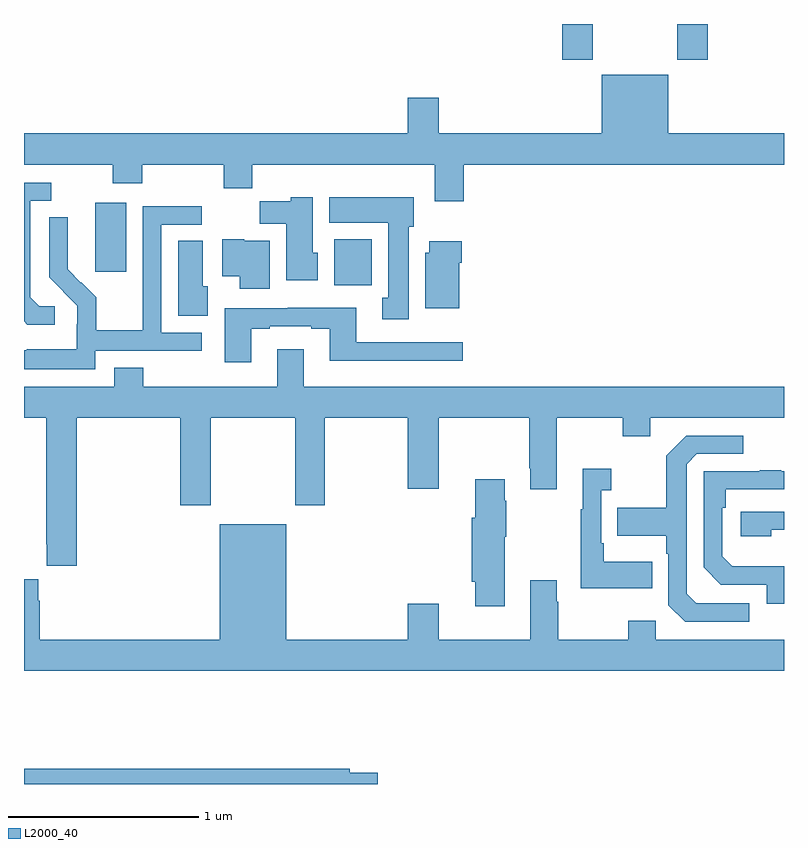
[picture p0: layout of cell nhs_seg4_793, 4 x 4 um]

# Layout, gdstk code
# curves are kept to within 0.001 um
import gdstk
lib = gdstk.Library(unit=1e-6, precision=1e-09)
def R(c, l, rs):  # rectangles x0, y0, x1, y1
    for r in rs: c.add(gdstk.rectangle(r[:2], r[2:], *l))
def P(c, l, *ps):  # polygons
    for p in ps: c.add(gdstk.Polygon(p, *l))
L2000_40 = (2000, 40)

nhs_seg4_793 = lib.new_cell('nhs_seg4_793')
R(nhs_seg4_793, L2000_40, [(152.633,789.524,152.83,789.766), (151.376,789.597,151.537,789.958), (153.833,790.713,153.993,790.9), (154.438,790.713,154.598,790.9)])
P(nhs_seg4_793, L2000_40, [(153.314,790.16),(155,790.16),(155,790.324),(154.39,790.324),(154.39,790.633),(154.04,790.633),(154.04,790.324),(153.184,790.324),(153.184,790.513),(153.02,790.513),(153.02,790.324),(151,790.324),(151,790.16),(151.468,790.16),(151.468,790.061),(151.623,790.061),(151.623,790.16),(152.05,790.16),(152.05,790.036),(152.201,790.036),(152.201,790.16),(153.161,790.16),(153.161,789.966),(153.314,789.966)],
  [(151.162,789.414),(151.08,789.414),(151.033,789.461),(151.033,789.969),(151.144,789.969),(151.144,790.065),(151,790.065),(151,789.335),(151.018,789.317),(151.162,789.317)],
  [(153.025,789.834),(153.052,789.834),(153.052,789.988),(152.606,789.988),(152.606,789.854),(152.918,789.854),(152.918,789.458),(152.885,789.458),(152.885,789.345),(153.025,789.345)],
  [(152.545,789.696),(152.521,789.696),(152.521,789.988),(152.403,789.988),(152.403,789.967),(152.242,789.967),(152.242,789.848),(152.381,789.848),(152.381,789.552),(152.545,789.552)],
  [(151.374,789.18),(151.936,789.18),(151.936,789.276),(151.722,789.276),(151.722,789.843),(151.936,789.843),(151.936,789.942),(151.626,789.942),(151.626,789.509),(151.624,789.509),(151.624,789.289),(151.379,789.289),(151.379,789.463),(151.302,789.54),(151.299,789.537),(151.229,789.608),(151.229,789.743),(151.231,789.743),(151.231,789.884),(151.134,789.884),(151.134,789.566),(151.28,789.418),(151.28,789.321),(151.278,789.321),(151.278,789.187),(151.015,789.187),(151.015,789.183),(151,789.183),(151,789.083),(151.374,789.083)],
  [(152.293,789.76),(152.16,789.76),(152.16,789.766),(152.043,789.766),(152.043,789.572),(152.135,789.572),(152.135,789.507),(152.293,789.507)],
  [(151.968,789.519),(151.942,789.519),(151.942,789.758),(151.811,789.758),(151.811,789.365),(151.968,789.365)],
  [(153.292,789.644),(153.305,789.644),(153.305,789.757),(153.134,789.757),(153.134,789.696),(153.113,789.696),(153.113,789.404),(153.292,789.404)],
  [(152.197,789.297),(152.293,789.297),(152.293,789.309),(152.513,789.309),(152.513,789.297),(152.609,789.297),(152.609,789.128),(153.31,789.128),(153.31,789.225),(152.749,789.225),(152.749,789.406),(152.389,789.406),(152.389,789.405),(152.057,789.405),(152.057,789.12),(152.197,789.12)],
  [(151.277,788.828),(151.823,788.828),(151.823,788.367),(151.983,788.367),(151.983,788.828),(152.428,788.828),(152.428,788.367),(152.583,788.367),(152.583,788.828),(153.02,788.828),(153.02,788.454),(153.184,788.454),(153.184,788.828),(153.658,788.828),(153.658,788.563),(153.665,788.563),(153.665,788.451),(153.805,788.451),(153.805,788.828),(154.15,788.828),(154.15,788.729),(154.297,788.729),(154.297,788.828),(155,788.828),(155,788.992),(152.473,788.992),(152.473,789.187),(152.333,789.187),(152.333,788.992),(151.628,788.992),(151.628,789.091),(151.475,789.091),(151.475,788.992),(151,788.992),(151,788.828),(151.117,788.828),(151.117,788.161),(151.121,788.161),(151.121,788.049),(151.277,788.049)],
  [(154.816,787.851),(154.539,787.851),(154.488,787.902),(154.488,788.583),(154.542,788.637),(154.786,788.637),(154.786,788.733),(154.485,788.733),(154.38,788.627),(154.38,788.355),(154.123,788.355),(154.123,788.207),(154.38,788.207),(154.38,788.111),(154.392,788.111),(154.392,787.842),(154.479,787.755),(154.816,787.755)],
  [(154.307,788.071),(154.051,788.071),(154.051,788.167),(154.038,788.167),(154.038,788.447),(154.09,788.447),(154.09,788.56),(153.941,788.56),(153.941,788.347),(153.93,788.347),(153.93,787.931),(154.307,787.931)],
  [(155,788.047),(154.727,788.047),(154.674,788.1),(154.674,788.354),(154.694,788.354),(154.694,788.451),(155,788.451),(155,788.547),(154.985,788.547),(154.985,788.552),(154.873,788.552),(154.873,788.547),(154.578,788.547),(154.578,788.04),(154.668,787.95),(154.908,787.95),(154.908,787.848),(155,787.848)],
  [(153.529,788.201),(153.537,788.201),(153.537,788.39),(153.529,788.39),(153.529,788.503),(153.374,788.503),(153.374,788.301),(153.356,788.301),(153.356,787.965),(153.374,787.965),(153.374,787.836),(153.529,787.836)],
  [(154.934,788.238),(155,788.238),(155,788.334),(154.773,788.334),(154.773,788.204),(154.934,788.204)],
  [(155,787.66),(154.326,787.66),(154.326,787.759),(154.18,787.759),(154.18,787.66),(153.813,787.66),(153.813,787.859),(153.805,787.859),(153.805,787.972),(153.665,787.972),(153.665,787.66),(153.184,787.66),(153.184,787.849),(153.02,787.849),(153.02,787.66),(152.38,787.66),(152.38,788.266),(152.03,788.266),(152.03,787.66),(151.082,787.66),(151.082,787.865),(151.075,787.865),(151.075,787.978),(151,787.978),(151,787.496),(155,787.496)],
  [(152.861,786.96),(152.714,786.96),(152.714,786.98),(151,786.98),(151,786.9),(152.861,786.9)])

lib.write_gds('nhs_seg4_793.gds')
